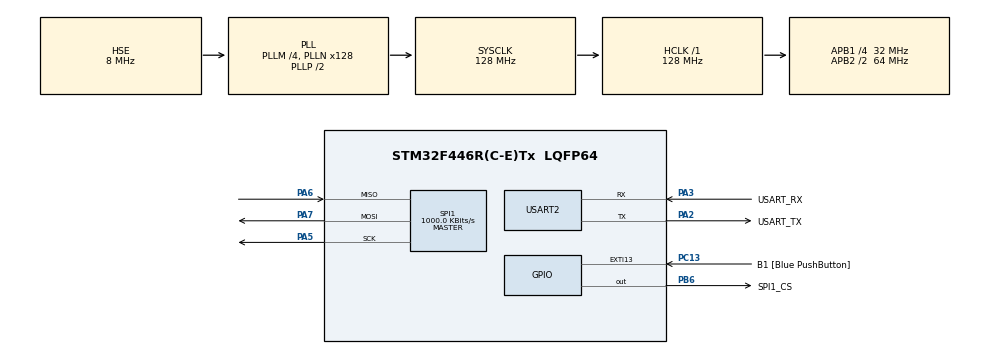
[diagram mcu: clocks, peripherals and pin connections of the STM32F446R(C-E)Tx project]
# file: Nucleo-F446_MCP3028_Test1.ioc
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Mcu.Family=STM32F4
Mcu.Name=STM32F446R(C-E)Tx
Mcu.Package=LQFP64
NVIC.PriorityGroup=NVIC_PRIORITYGROUP_0
PA13.GPIO_Label=TMS
PA13.Mode=Serial_Wire
PA13.Signal=SYS_JTMS-SWDIO
PA14.GPIO_Label=TCK
PA14.Mode=Serial_Wire
PA14.Signal=SYS_JTCK-SWCLK
PA2.GPIO_Label=USART_TX
PA2.Mode=Asynchronous
PA2.Signal=USART2_TX
PA3.GPIO_Label=USART_RX
PA3.Mode=Asynchronous
PA3.Signal=USART2_RX
PA5.Mode=Full_Duplex_Master
PA5.Signal=SPI1_SCK
PA6.Mode=Full_Duplex_Master
PA6.Signal=SPI1_MISO
PA7.Mode=Full_Duplex_Master
PA7.Signal=SPI1_MOSI
PB3.GPIO_Label=SWO
PB3.Signal=SYS_JTDO-SWO
PB6.GPIO_Label=SPI1_CS
PB6.GPIO_Speed=GPIO_SPEED_FREQ_HIGH
PB6.PinState=GPIO_PIN_SET
PB6.Signal=GPIO_Output
PC13.GPIO_Label=B1 [Blue PushButton]
PC13.GPIO_ModeDefaultEXTI=GPIO_MODE_IT_FALLING
PC13.Signal=GPXTI13
PC14-OSC32_IN.Mode=LSE-External-Oscillator
PC14-OSC32_IN.Signal=RCC_OSC32_IN
PC15-OSC32_OUT.Mode=LSE-External-Oscillator
PC15-OSC32_OUT.Signal=RCC_OSC32_OUT
PH0-OSC_IN.Mode=HSE-External-Oscillator
PH0-OSC_IN.Signal=RCC_OSC_IN
PH1-OSC_OUT.Mode=HSE-External-Oscillator
PH1-OSC_OUT.Signal=RCC_OSC_OUT
ProjectManager.HeapSize=0x200
ProjectManager.StackSize=0x400
ProjectManager.TargetToolchain=SW4STM32
RCC.48MHZClocksFreq_Value=84000000
RCC.AHBFreq_Value=128000000
RCC.APB1CLKDivider=RCC_HCLK_DIV4
RCC.APB1Freq_Value=32000000
RCC.APB1TimFreq_Value=64000000
RCC.APB2CLKDivider=RCC_HCLK_DIV2
RCC.APB2Freq_Value=64000000
RCC.APB2TimFreq_Value=128000000
RCC.CortexFreq_Value=128000000
RCC.FLatency-AdvancedSettings=FLASH_LATENCY_4
RCC.HCLKFreq_Value=128000000
RCC.HSE_VALUE=8000000
RCC.HSI_VALUE=16000000
RCC.PLLM=4
RCC.PLLN=128
RCC.PLLSourceVirtual=RCC_PLLSOURCE_HSE
RCC.SYSCLKFreq_VALUE=128000000
RCC.SYSCLKSource=RCC_SYSCLKSOURCE_PLLCLK
RCC.USBFreq_Value=128000000
RCC.VCOOutputFreq_Value=256000000
SPI1.BaudRatePrescaler=SPI_BAUDRATEPRESCALER_64
SPI1.CalculateBaudRate=1000.0 KBits/s
SPI1.Direction=SPI_DIRECTION_2LINES
SPI1.Mode=SPI_MODE_MASTER
SPI1.VirtualType=VM_MASTER
USART2.VirtualMode=VM_ASYNC
board=NUCLEO-F446RE

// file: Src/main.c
/* USER CODE BEGIN Header */
/**
  ******************************************************************************
  * @file           : main.c
  * @brief          : Main program body
  ******************************************************************************
  * @attention
  *
  * <h2><center>&copy; Copyright (c) 2019 STMicroelectronics.
  * All rights reserved.</center></h2>
  *
  * This software component is licensed by ST under BSD 3-Clause license,
  * the "License"; You may not use this file except in compliance with the
  * License. You may obtain a copy of the License at:
  *                        opensource.org/licenses/BSD-3-Clause
  *
  ******************************************************************************
  */
/* USER CODE END Header */

#include "main.h"

/* USER CODE BEGIN Includes */
#include <stdio.h>
/* USER CODE END Includes */

/* USER CODE BEGIN PD */
#define MCP3208_START_BIT   0x04
#define MCP3208_MODE_SINGLE 0x02    // Single-ended mode
#define MCP3208_MODE_DIFF   0x00    // Differential mode
/* USER CODE END PD */

SPI_HandleTypeDef hspi1;

UART_HandleTypeDef huart2;

void SystemClock_Config(void);
static void MX_GPIO_Init(void);
static void MX_SPI1_Init(void);
static void MX_USART2_UART_Init(void);

/* USER CODE BEGIN 0 */
#ifdef __GNUC__
#define PUTCHAR_PROTOTYPE int __io_putchar(int ch)
#else
#define PUTCHAR_PROTOTYPE int fputc(int ch, FILE *f)
#endif
PUTCHAR_PROTOTYPE
{
 HAL_UART_Transmit(&huart2, (uint8_t *)&ch, 1, 0xFFFF);
 return ch;
}

uint16_t MCP3208_read_u16(uint8_t channel)
{
  uint8_t aTxBuffer[3];
  uint8_t aRxBuffer[3];

  aTxBuffer[0] = MCP3208_START_BIT | MCP3208_MODE_SINGLE | ((channel & 0x04) >> 2);
  aTxBuffer[1] = (channel & 0x03) << 6;
  aTxBuffer[2] = 0;

  HAL_GPIO_WritePin(SPI1_CS_GPIO_Port, SPI1_CS_Pin, GPIO_PIN_RESET);

  if(HAL_SPI_TransmitReceive(&hspi1, aTxBuffer, aRxBuffer, 3, 100) != HAL_OK)
  {
    /* Transfer error in transmission process */
    Error_Handler();
  }

  HAL_GPIO_WritePin(SPI1_CS_GPIO_Port, SPI1_CS_Pin, GPIO_PIN_SET);

  // RXデータの2バイト目の上位4ビットは値が不定のため0x0ｆでマスキング
  uint16_t conv_result = ((uint16_t)(aRxBuffer[1] & 0x0f) << 8) | (uint16_t)aRxBuffer[2];

  return conv_result;
}

/* USER CODE END 0 */

int main(void)
{

  /* MCU Configuration--------------------------------------------------------*/

  /* Reset of all peripherals, Initializes the Flash interface and the Systick. */
  HAL_Init();

  /* Configure the system clock */
  SystemClock_Config();

  /* Initialize all configured peripherals */
  MX_GPIO_Init();
  MX_SPI1_Init();
  MX_USART2_UART_Init();

  /* Infinite loop */
  while (1)
  {

    /* USER CODE BEGIN 3 */
    uint16_t adcv[3] = {0};
    for (int i = 0; i < 3; i++) {
      adcv[i] = MCP3208_read_u16(i);
    }
    printf("Read VAL:\t%d\t%d\t%d\r\n", adcv[0], adcv[1], adcv[2]);
  }
  /* USER CODE END 3 */
}

void SystemClock_Config(void)
{
  RCC_OscInitTypeDef RCC_OscInitStruct = {0};
  RCC_ClkInitTypeDef RCC_ClkInitStruct = {0};

  /** Configure the main internal regulator output voltage
  */
  __HAL_RCC_PWR_CLK_ENABLE();
  __HAL_PWR_VOLTAGESCALING_CONFIG(PWR_REGULATOR_VOLTAGE_SCALE2);
  /** Initializes the CPU, AHB and APB busses clocks
  */
  RCC_OscInitStruct.OscillatorType = RCC_OSCILLATORTYPE_HSE;
  RCC_OscInitStruct.HSEState = RCC_HSE_ON;
  RCC_OscInitStruct.PLL.PLLState = RCC_PLL_ON;
  RCC_OscInitStruct.PLL.PLLSource = RCC_PLLSOURCE_HSE;
  RCC_OscInitStruct.PLL.PLLM = 4;
  RCC_OscInitStruct.PLL.PLLN = 128;
  RCC_OscInitStruct.PLL.PLLP = RCC_PLLP_DIV2;
  RCC_OscInitStruct.PLL.PLLQ = 2;
  RCC_OscInitStruct.PLL.PLLR = 2;
  if (HAL_RCC_OscConfig(&RCC_OscInitStruct) != HAL_OK)
  {
    Error_Handler();
  }
  /** Initializes the CPU, AHB and APB busses clocks
  */
  RCC_ClkInitStruct.ClockType = RCC_CLOCKTYPE_HCLK|RCC_CLOCKTYPE_SYSCLK
                              |RCC_CLOCKTYPE_PCLK1|RCC_CLOCKTYPE_PCLK2;
  RCC_ClkInitStruct.SYSCLKSource = RCC_SYSCLKSOURCE_PLLCLK;
  RCC_ClkInitStruct.AHBCLKDivider = RCC_SYSCLK_DIV1;
  RCC_ClkInitStruct.APB1CLKDivider = RCC_HCLK_DIV4;
  RCC_ClkInitStruct.APB2CLKDivider = RCC_HCLK_DIV2;

  if (HAL_RCC_ClockConfig(&RCC_ClkInitStruct, FLASH_LATENCY_4) != HAL_OK)
  {
    Error_Handler();
  }
}

static void MX_SPI1_Init(void)
{

  /* SPI1 parameter configuration*/
  hspi1.Instance = SPI1;
  hspi1.Init.Mode = SPI_MODE_MASTER;
  hspi1.Init.Direction = SPI_DIRECTION_2LINES;
  hspi1.Init.DataSize = SPI_DATASIZE_8BIT;
  hspi1.Init.CLKPolarity = SPI_POLARITY_LOW;
  hspi1.Init.CLKPhase = SPI_PHASE_1EDGE;
  hspi1.Init.NSS = SPI_NSS_SOFT;
  hspi1.Init.BaudRatePrescaler = SPI_BAUDRATEPRESCALER_64;
  hspi1.Init.FirstBit = SPI_FIRSTBIT_MSB;
  hspi1.Init.TIMode = SPI_TIMODE_DISABLE;
  hspi1.Init.CRCCalculation = SPI_CRCCALCULATION_DISABLE;
  hspi1.Init.CRCPolynomial = 10;
  if (HAL_SPI_Init(&hspi1) != HAL_OK)
  {
    Error_Handler();
  }

}

static void MX_USART2_UART_Init(void)
{

  huart2.Instance = USART2;
  huart2.Init.BaudRate = 115200;
  huart2.Init.WordLength = UART_WORDLENGTH_8B;
  huart2.Init.StopBits = UART_STOPBITS_1;
  huart2.Init.Parity = UART_PARITY_NONE;
  huart2.Init.Mode = UART_MODE_TX_RX;
  huart2.Init.HwFlowCtl = UART_HWCONTROL_NONE;
  huart2.Init.OverSampling = UART_OVERSAMPLING_16;
  if (HAL_UART_Init(&huart2) != HAL_OK)
  {
    Error_Handler();
  }

}

static void MX_GPIO_Init(void)
{
  GPIO_InitTypeDef GPIO_InitStruct = {0};

  /* GPIO Ports Clock Enable */
  __HAL_RCC_GPIOC_CLK_ENABLE();
  __HAL_RCC_GPIOH_CLK_ENABLE();
  __HAL_RCC_GPIOA_CLK_ENABLE();
  __HAL_RCC_GPIOB_CLK_ENABLE();

  /*Configure GPIO pin Output Level */
  HAL_GPIO_WritePin(SPI1_CS_GPIO_Port, SPI1_CS_Pin, GPIO_PIN_SET);

  /*Configure GPIO pin : B1_Pin */
  GPIO_InitStruct.Pin = B1_Pin;
  GPIO_InitStruct.Mode = GPIO_MODE_IT_FALLING;
  GPIO_InitStruct.Pull = GPIO_NOPULL;
  HAL_GPIO_Init(B1_GPIO_Port, &GPIO_InitStruct);

  /*Configure GPIO pin : SPI1_CS_Pin */
  GPIO_InitStruct.Pin = SPI1_CS_Pin;
  GPIO_InitStruct.Mode = GPIO_MODE_OUTPUT_PP;
  GPIO_InitStruct.Pull = GPIO_NOPULL;
  GPIO_InitStruct.Speed = GPIO_SPEED_FREQ_HIGH;
  HAL_GPIO_Init(SPI1_CS_GPIO_Port, &GPIO_InitStruct);

}

void Error_Handler(void)
{
}

/************************ (C) COPYRIGHT STMicroelectronics *****END OF FILE****/
